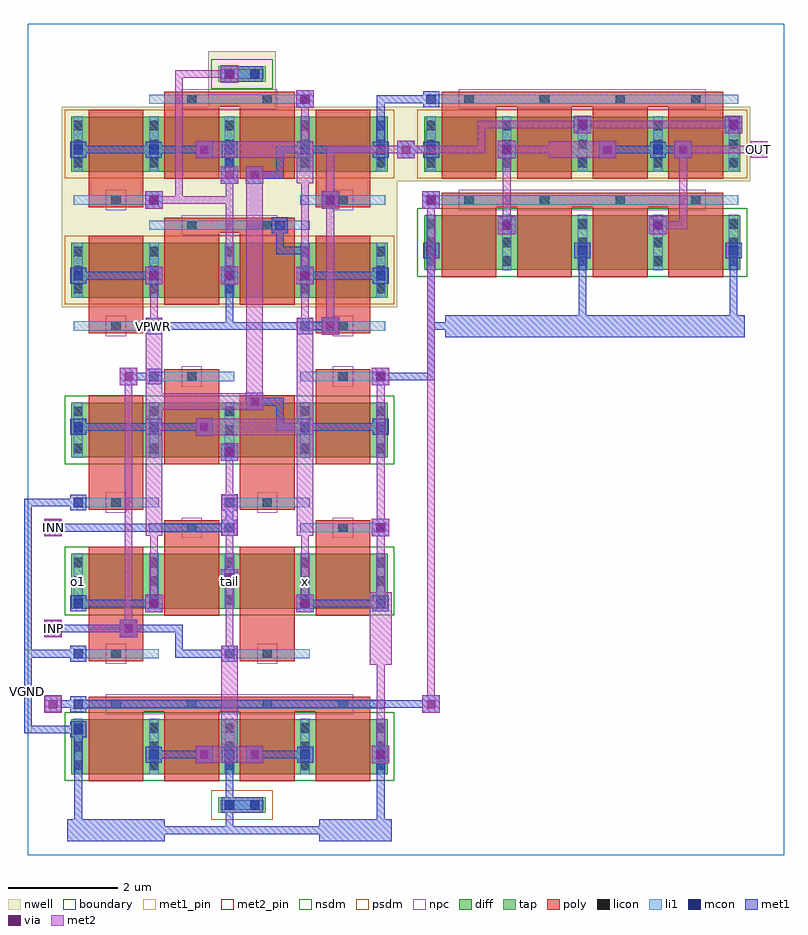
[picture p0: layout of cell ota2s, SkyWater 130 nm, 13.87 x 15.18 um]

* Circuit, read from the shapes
.subckt ota2s INN INP OUT VBN VGND VPWR o1 tail x
XM1 tail VBN VGND VGND sky130_fd_pr__nfet_01v8 w=1 l=1 m=4
XM2 o1 VGND o1 VGND sky130_fd_pr__nfet_01v8 w=1 l=1 m=2
XM3 x VGND x VGND sky130_fd_pr__nfet_01v8 w=1 l=1 m=2
XM4 tail INN o1 VGND sky130_fd_pr__nfet_01v8 w=1 l=1 m=2
XM5 tail INP x VGND sky130_fd_pr__nfet_01v8 w=1 l=1 m=2
XM6 OUT VBN VGND VGND sky130_fd_pr__nfet_01v8 w=1 l=1 m=4
XM7 o1 VPWR o1 VPWR sky130_fd_pr__pfet_01v8 w=1 l=1 m=2
XM8 x VPWR x VPWR sky130_fd_pr__pfet_01v8 w=1 l=1 m=2
XM9 VPWR x o1 VPWR sky130_fd_pr__pfet_01v8 w=1 l=1 m=2
XM10 VPWR x x VPWR sky130_fd_pr__pfet_01v8 w=1 l=1 m=2
XM11 OUT o1 VPWR VPWR sky130_fd_pr__pfet_01v8 w=1 l=1 m=4
.ends

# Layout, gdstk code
import gdstk
lib = gdstk.Library(unit=1e-6, precision=1e-09)
def R(c, l, rs):  # rectangles x0, y0, x1, y1
    for r in rs: c.add(gdstk.rectangle(r[:2], r[2:], *l))
def A(c, l, x, y, w, h, nx, ny, dx, dy):  # array of equal rectangles
    R(c, l, [(x+i*dx, y+j*dy, x+i*dx+w, y+j*dy+h) for i in range(nx) for j in range(ny)])
nwell = (64, 20)
diff = (65, 20)
tap = (65, 44)
poly = (66, 20)
licon = (66, 44)
li1 = (67, 20)
mcon = (67, 44)
met1_pin = (68, 16)
met1 = (68, 20)
via = (68, 44)
met2_pin = (69, 16)
met2 = (69, 20)
nsdm = (93, 44)
psdm = (94, 20)
npc = (95, 20)
boundary = (235, 4)

ota2s = lib.new_cell('ota2s')
R(ota2s, nwell, [(0.615,10,6.745,12.3), (0.615,12.3,13.185,13.66), (3.295,13.66,4.525,14.68)])
R(ota2s, diff, [(0.795,1.485,6.565,2.485), (0.795,4.505,6.565,5.505), (0.795,7.265,6.565,8.265), (0.795,10.18,6.565,11.18), (7.235,10.685,13.005,11.685), (0.795,12.48,6.565,13.48), (7.235,12.48,13.005,13.48)])
R(ota2s, tap, [(3.475,0.775,4.345,1.065), (3.475,14.115,4.345,14.405)])
A(ota2s, poly, 1.11, 1.355, 1, 1.405, 4, 1, 1.38, 0)
A(ota2s, poly, 7.55, 10.555, 1, 1.405, 4, 1, 1.38, 0)
A(ota2s, poly, 7.55, 12.35, 1, 1.45, 4, 1, 1.38, 0)
R(ota2s, poly, [(1.11,2.625,6.25,2.895), (1.11,3.545,2.11,3.815), (3.87,3.545,4.87,3.815), (1.11,3.68,2.11,5.635), (3.87,3.68,4.87,5.635), (2.49,4.375,3.49,5.98), (5.25,4.375,6.25,5.98), (2.49,5.845,3.49,6.115), (5.25,5.845,6.25,6.115), (1.11,6.305,2.11,6.575), (3.87,6.305,4.87,6.575), (1.11,6.44,2.11,8.395), (3.87,6.44,4.87,8.395), (2.49,7.135,3.49,8.74), (5.25,7.135,6.25,8.74), (2.49,8.605,3.49,8.875), (5.25,8.605,6.25,8.875), (1.11,9.525,2.11,9.795), (5.25,9.525,6.25,9.795), (1.11,9.66,2.11,11.31), (5.25,9.66,6.25,11.31), (2.49,10.05,3.49,11.5), (3.87,10.05,4.87,11.5), (2.49,11.365,4.87,11.635), (1.11,11.825,2.11,12.095), (5.25,11.825,6.25,12.095), (7.55,11.825,12.69,12.095), (1.11,11.96,2.11,13.61), (5.25,11.96,6.25,13.61), (2.49,12.35,3.49,13.8), (3.87,12.35,4.87,13.8), (2.49,13.665,4.87,13.935), (7.55,13.665,12.69,13.935)])
A(ota2s, licon, 0.835, 1.56, 0.17, 0.17, 5, 3, 1.38, 0.34)
A(ota2s, licon, 1.525, 2.675, 0.17, 0.17, 4, 1, 1.38, 0)
A(ota2s, licon, 0.835, 4.58, 0.17, 0.17, 5, 3, 1.38, 0.34)
A(ota2s, licon, 2.905, 5.895, 0.17, 0.17, 1, 3, 0, 2.76)
A(ota2s, licon, 0.835, 7.34, 0.17, 0.17, 5, 3, 1.38, 0.34)
A(ota2s, licon, 0.835, 10.255, 0.17, 0.17, 5, 3, 1.38, 0.34)
A(ota2s, licon, 7.275, 10.76, 0.17, 0.17, 5, 3, 1.38, 0.34)
A(ota2s, licon, 7.965, 11.875, 0.17, 0.17, 4, 2, 1.38, 1.84)
A(ota2s, licon, 0.835, 12.555, 0.17, 0.17, 5, 3, 1.38, 0.34)
A(ota2s, licon, 7.275, 12.555, 0.17, 0.17, 5, 3, 1.38, 0.34)
R(ota2s, licon, [(3.595,0.835,3.765,1.005), (4.055,0.835,4.225,1.005), (1.525,3.595,1.695,3.765), (4.285,3.595,4.455,3.765), (5.665,5.895,5.835,6.065), (1.525,6.355,1.695,6.525), (4.285,6.355,4.455,6.525), (5.665,8.655,5.835,8.825), (1.525,9.575,1.695,9.745), (5.665,9.575,5.835,9.745), (4.285,11.415,4.455,11.585), (1.525,11.875,1.695,12.045), (5.665,11.875,5.835,12.045), (2.905,13.715,3.075,13.885), (4.285,13.715,4.455,13.885), (3.595,14.175,3.765,14.345), (4.055,14.175,4.225,14.345)])
A(ota2s, li1, 0.835, 1.48, 0.17, 1.01, 5, 2, 1.38, 3.02)
A(ota2s, li1, 0.835, 7.26, 0.17, 1.01, 5, 2, 1.38, 2.915)
A(ota2s, li1, 7.275, 10.68, 0.17, 1.01, 5, 2, 1.38, 1.795)
A(ota2s, li1, 0.835, 12.475, 0.17, 1.01, 5, 1, 1.38, 0)
R(ota2s, li1, [(3.515,0.835,4.305,1.005), (0.835,2.675,6.525,2.845), (0.835,3.595,2.385,3.765), (3.595,3.595,5.145,3.765), (2.215,5.895,3.765,6.065), (4.975,5.895,6.525,6.065), (0.835,6.355,2.385,6.525), (3.595,6.355,5.145,6.525), (2.215,8.655,3.765,8.825), (4.975,8.655,6.525,8.825), (0.835,9.575,2.385,9.745), (4.975,9.575,6.525,9.745), (2.215,11.415,5.145,11.585), (0.835,11.875,2.385,12.045), (4.975,11.875,6.525,12.045), (7.275,11.875,12.965,12.045), (2.215,13.715,5.145,13.885), (7.275,13.715,12.965,13.885), (3.515,14.175,4.305,14.345)])
A(ota2s, mcon, 2.215, 1.755, 0.17, 0.17, 4, 1, 1.38, 0)
A(ota2s, mcon, 0.835, 2.675, 0.17, 0.17, 1, 3, 0, 0.92)
A(ota2s, mcon, 2.215, 7.735, 0.17, 0.17, 1, 3, 0, 0.92)
A(ota2s, mcon, 0.835, 10.495, 0.17, 0.17, 5, 2, 1.38, 2.3)
A(ota2s, mcon, 7.275, 10.955, 0.17, 0.17, 3, 1, 2.76, 0)
A(ota2s, mcon, 7.275, 11.875, 0.17, 0.17, 1, 3, 0, 0.92)
R(ota2s, mcon, [(3.595,0.835,3.765,1.005), (4.055,0.835,4.225,1.005), (0.835,2.215,1.005,2.385), (3.595,3.595,3.765,3.765), (2.215,4.515,2.385,4.685), (4.975,4.515,5.145,4.685), (6.355,4.515,6.525,4.685), (3.595,4.975,3.765,5.145), (3.595,5.895,3.765,6.065), (6.355,5.895,6.525,6.065), (0.835,6.355,1.005,6.525), (3.595,6.355,3.765,6.525), (3.595,7.275,3.765,7.445), (0.835,7.735,1.005,7.905), (4.975,7.735,5.145,7.905), (6.355,7.735,6.525,7.905), (6.355,8.655,6.525,8.825), (4.975,9.575,5.145,9.745), (4.515,11.415,4.685,11.585), (8.655,11.415,8.825,11.585), (11.415,11.415,11.585,11.585), (2.215,11.875,2.385,12.045), (5.435,11.875,5.605,12.045), (8.655,12.795,8.825,12.965), (11.415,12.795,11.585,12.965), (10.035,13.255,10.205,13.425), (12.795,13.255,12.965,13.425), (4.975,13.715,5.145,13.885), (3.595,14.175,3.765,14.345), (4.055,14.175,4.225,14.345)])
R(ota2s, met1_pin, [(-0.07,2.23,0.07,3.75), (2.155,9.515,2.445,9.805)])
A(ota2s, met1, 2.155, 1.695, 0.29, 0.29, 4, 1, 1.38, 0)
A(ota2s, met1, 0.775, 2.615, 0.29, 0.29, 1, 3, 0, 0.92)
A(ota2s, met1, 2.155, 7.675, 0.29, 0.29, 1, 3, 0, 0.92)
A(ota2s, met1, 2.14, 10.42, 0.32, 0.32, 3, 1, 1.38, 0)
A(ota2s, met1, 0.775, 10.435, 0.29, 0.29, 5, 2, 1.38, 2.3)
A(ota2s, met1, 7.215, 10.895, 0.29, 0.29, 3, 1, 2.76, 0)
A(ota2s, met1, 7.215, 11.815, 0.29, 0.29, 1, 3, 0, 0.92)
A(ota2s, met1, 6.74, 12.72, 0.32, 0.32, 3, 1, 1.84, 0)
R(ota2s, met1, [(0.72,0.26,2.5,0.66), (5.32,0.26,6.64,0.66), (0.85,0.39,0.99,2.37), (2.23,0.39,3.75,0.53), (3.61,0.39,3.75,0.99), (3.61,0.39,5.59,0.53), (6.37,0.39,6.51,1.91), (3.535,0.775,4.285,1.065), (3.61,0.85,3.75,1.91), (3.61,0.85,3.75,0.99), (3.06,1.68,3.38,2), (3.98,1.68,4.3,2), (6.28,1.68,6.6,2), (2.23,1.77,3.29,1.91), (4.07,1.77,5.13,1.91), (0.775,2.155,1.065,2.445), (-0.07,2.23,0.99,2.37), (-0.07,2.23,0.07,3.75), (0.3,2.6,0.62,2.92), (7.2,2.6,7.52,2.92), (0.39,2.69,0.99,2.83), (0.85,2.69,7.43,2.83), (3.535,3.535,3.825,3.825), (-0.07,3.61,0.99,3.75), (-0.07,3.61,0.07,6.51), (2.69,3.61,3.75,3.75), (2.69,3.61,2.83,4.21), (0.3,3.98,0.62,4.3), (1.68,3.98,2,4.3), (0.39,4.07,2.83,4.21), (2.14,4.44,2.46,4.76), (4.9,4.44,5.22,4.76), (2.155,4.455,2.445,4.745), (4.915,4.455,5.205,4.745), (6.295,4.455,6.585,4.745), (0.85,4.53,2.37,4.67), (4.99,4.53,6.51,4.67), (3.52,4.9,3.84,5.22), (3.535,4.915,3.825,5.205), (0.3,5.82,0.62,6.14), (6.28,5.82,6.6,6.14), (3.535,5.835,3.825,6.125), (6.295,5.835,6.585,6.125), (0.39,5.91,3.75,6.05), (3.61,5.91,3.75,6.51), (0.775,6.295,1.065,6.585), (3.535,6.295,3.825,6.585), (-0.07,6.37,0.99,6.51), (3.52,7.2,3.84,7.52), (3.535,7.215,3.825,7.505), (3.06,7.66,3.38,7.98), (0.775,7.675,1.065,7.965), (4.915,7.675,5.205,7.965), (6.295,7.675,6.585,7.965), (0.85,7.75,2.37,7.89), (2.23,7.75,3.29,7.89), (4.53,7.75,5.13,7.89), (4.53,7.75,4.67,8.35), (4.99,7.75,6.51,7.89), (3.98,8.12,4.3,8.44), (4.07,8.21,4.67,8.35), (1.68,8.58,2,8.9), (6.28,8.58,6.6,8.9), (6.295,8.595,6.585,8.885), (1.77,8.67,2.37,8.81), (6.37,8.67,7.43,8.81), (7.29,8.67,7.43,11.11), (7.62,9.46,10.32,9.86), (9.92,9.46,13.08,9.86), (5.36,9.5,5.68,9.82), (4.915,9.515,5.205,9.805), (2.23,9.59,3.75,9.73), (3.61,9.59,5.13,9.73), (3.61,9.59,3.75,10.65), (4.99,9.59,5.59,9.73), (7.29,9.59,7.89,9.73), (10.05,9.59,10.19,11.11), (12.81,9.59,12.95,11.11), (0.85,10.51,2.37,10.65), (4.99,10.51,6.51,10.65), (4.99,10.51,5.13,11.11), (4.53,10.97,5.13,11.11), (4.53,10.97,4.67,11.57), (8.58,11.34,8.9,11.66), (11.34,11.34,11.66,11.66), (4.455,11.355,4.745,11.645), (8.595,11.355,8.885,11.645), (11.355,11.355,11.645,11.645), (2.14,11.8,2.46,12.12), (5.36,11.8,5.68,12.12), (7.2,11.8,7.52,12.12), (2.155,11.815,2.445,12.105), (5.375,11.815,5.665,12.105), (3.52,12.26,3.84,12.58), (3.98,12.26,4.3,12.58), (3.61,12.35,3.75,12.95), (4.07,12.35,4.67,12.49), (4.53,12.35,4.67,12.95), (3.06,12.72,3.38,13.04), (11.8,12.72,12.12,13.04), (8.595,12.735,8.885,13.025), (11.355,12.735,11.645,13.025), (0.85,12.81,2.37,12.95), (2.23,12.81,3.29,12.95), (4.53,12.81,5.13,12.95), (4.99,12.81,6.51,12.95), (6.37,12.81,6.51,13.87), (6.83,12.81,7.43,12.95), (10.51,12.81,11.57,12.95), (11.43,12.81,12.03,12.95), (9.96,13.18,10.28,13.5), (12.72,13.18,13.04,13.5), (9.975,13.195,10.265,13.485), (12.735,13.195,13.025,13.485), (4.9,13.64,5.22,13.96), (4.915,13.655,5.205,13.945), (6.37,13.73,7.43,13.87), (3.52,14.1,3.84,14.42), (3.535,14.115,4.285,14.405), (3.61,14.19,3.75,14.33)])
A(ota2s, via, 2.225, 10.505, 0.15, 0.15, 3, 1, 1.38, 0)
A(ota2s, via, 6.825, 12.805, 0.15, 0.15, 3, 1, 1.84, 0)
R(ota2s, via, [(3.145,1.765,3.295,1.915), (4.065,1.765,4.215,1.915), (6.365,1.765,6.515,1.915), (0.385,2.685,0.535,2.835), (7.285,2.685,7.435,2.835), (0.385,4.065,0.535,4.215), (1.765,4.065,1.915,4.215), (2.225,4.525,2.375,4.675), (4.985,4.525,5.135,4.675), (3.605,4.985,3.755,5.135), (0.385,5.905,0.535,6.055), (6.365,5.905,6.515,6.055), (3.605,7.285,3.755,7.435), (3.145,7.745,3.295,7.895), (4.065,8.205,4.215,8.355), (1.765,8.665,1.915,8.815), (6.365,8.665,6.515,8.815), (5.445,9.585,5.595,9.735), (8.665,11.425,8.815,11.575), (11.425,11.425,11.575,11.575), (2.225,11.885,2.375,12.035), (5.445,11.885,5.595,12.035), (7.285,11.885,7.435,12.035), (3.605,12.345,3.755,12.495), (4.065,12.345,4.215,12.495), (3.145,12.805,3.295,12.955), (11.885,12.805,12.035,12.955), (10.045,13.265,10.195,13.415), (12.805,13.265,12.955,13.415), (4.985,13.725,5.135,13.875), (3.605,14.185,3.755,14.335)])
R(ota2s, met2_pin, [(0.31,2.61,0.61,2.91), (0.31,3.99,0.61,4.29), (0.31,5.83,0.61,6.13), (13.19,12.73,13.49,13.03)])
A(ota2s, met2, 2.14, 10.42, 0.32, 0.32, 3, 1, 1.38, 0)
A(ota2s, met2, 6.74, 12.72, 0.32, 0.32, 3, 1, 1.84, 0)
R(ota2s, met2, [(3.06,1.68,3.38,2), (3.98,1.68,4.3,2), (6.28,1.68,6.6,2), (3.07,1.69,3.83,1.99), (3.53,1.69,3.83,3.83), (3.53,1.69,4.29,1.99), (6.37,1.77,6.51,3.75), (0.3,2.6,0.62,2.92), (7.2,2.6,7.52,2.92), (0.31,2.61,0.61,2.91), (0.39,2.69,0.53,2.83), (7.29,2.69,7.43,12.03), (6.24,3.48,6.64,4.8), (3.61,3.61,3.75,5.13), (0.3,3.98,0.62,4.3), (1.68,3.98,2,4.3), (0.31,3.99,0.61,4.29), (0.39,4.07,0.53,4.21), (1.77,4.07,1.91,8.81), (2.14,4.44,2.46,4.76), (4.9,4.44,5.22,4.76), (2.23,4.53,2.37,6.05), (4.99,4.53,5.13,6.05), (6.37,4.53,6.51,6.05), (3.52,4.9,3.84,5.22), (3.61,4.99,3.75,6.05), (0.3,5.82,0.62,6.14), (6.28,5.82,6.6,6.14), (0.31,5.83,0.61,6.13), (2.15,5.83,2.45,9.81), (3.53,5.83,3.83,6.59), (4.91,5.83,5.21,9.81), (0.39,5.91,0.53,6.05), (6.37,5.91,6.51,8.81), (3.61,6.37,3.75,7.43), (3.52,7.2,3.84,7.52), (3.06,7.66,3.38,7.98), (3.07,7.67,5.21,7.97), (3.98,8.12,4.3,8.44), (2.15,8.13,4.29,8.43), (3.99,8.13,4.29,12.57), (1.68,8.58,2,8.9), (6.28,8.58,6.6,8.9), (5.36,9.5,5.68,9.82), (2.23,9.59,2.37,10.65), (4.99,9.59,5.13,10.65), (5.45,9.59,5.59,12.03), (3.61,10.51,3.75,12.49), (4.99,10.51,5.13,12.49), (8.58,11.34,8.9,11.66), (11.34,11.34,11.66,11.66), (8.67,11.43,8.81,12.95), (11.43,11.43,12.03,11.57), (11.89,11.43,12.03,12.95), (2.14,11.8,2.46,12.12), (5.36,11.8,5.68,12.12), (7.2,11.8,7.52,12.12), (2.23,11.89,3.75,12.03), (2.69,11.89,2.83,14.33), (5.45,11.89,5.59,12.95), (3.52,12.26,3.84,12.58), (3.98,12.26,4.3,12.58), (4.91,12.27,5.21,13.03), (3.06,12.72,3.38,13.04), (11.8,12.72,12.12,13.04), (3.07,12.73,5.21,13.03), (9.51,12.73,10.73,13.03), (13.19,12.73,13.49,13.03), (4.99,12.81,5.13,13.87), (5.45,12.81,6.97,12.95), (6.83,12.81,8.35,12.95), (8.21,12.81,8.35,13.41), (8.67,12.81,9.73,12.95), (11.89,12.81,13.41,12.95), (13.27,12.81,13.41,12.95), (9.96,13.18,10.28,13.5), (12.72,13.18,13.04,13.5), (8.21,13.27,10.19,13.41), (10.05,13.27,12.95,13.41), (4.9,13.64,5.22,13.96), (3.52,14.1,3.84,14.42), (2.69,14.19,3.75,14.33)])
R(ota2s, nsdm, [(0.67,1.36,6.69,2.61), (0.67,4.38,6.69,5.63), (0.67,7.14,6.69,8.39), (7.11,10.56,13.13,11.81), (3.35,13.99,4.47,14.53)])
R(ota2s, psdm, [(3.35,0.65,4.47,1.19), (0.67,10.055,6.69,11.305), (0.67,12.355,6.69,13.605), (7.11,12.355,13.13,13.605)])
R(ota2s, npc, [(1.425,2.575,5.935,2.945), (1.425,3.495,1.795,3.865), (4.185,3.495,4.555,3.865), (2.805,5.795,3.175,6.165), (5.565,5.795,5.935,6.165), (1.425,6.255,1.795,6.625), (4.185,6.255,4.555,6.625), (2.805,8.555,3.175,8.925), (5.565,8.555,5.935,8.925), (1.425,9.475,1.795,9.845), (5.565,9.475,5.935,9.845), (2.805,11.315,4.555,11.685), (1.425,11.775,1.795,12.145), (5.565,11.775,5.935,12.145), (7.865,11.775,12.375,12.145), (2.805,13.615,4.555,13.985), (7.865,13.615,12.375,13.985)])
R(ota2s, boundary, [(0,0,13.8,15.18)])
ota2s.add(gdstk.Label('o1', (0.92,5.005), layer=67, texttype=5))
ota2s.add(gdstk.Label('tail', (3.68,5.005), layer=67, texttype=5))
ota2s.add(gdstk.Label('x', (5.06,5.005), layer=67, texttype=5))
ota2s.add(gdstk.Label('VPWR', (2.3,9.66), layer=68, texttype=5))
ota2s.add(gdstk.Label('VGND', (0,2.99), layer=68, texttype=5))
ota2s.add(gdstk.Label('INP', (0.46,4.14), layer=69, texttype=5))
ota2s.add(gdstk.Label('INN', (0.46,5.98), layer=69, texttype=5))
ota2s.add(gdstk.Label('VBN', (0.46,2.76), layer=69, texttype=5))
ota2s.add(gdstk.Label('OUT', (13.34,12.88), layer=69, texttype=5))
ota2s.add(gdstk.Label('VPWR', (2.3,9.66), layer=68, texttype=16))
ota2s.add(gdstk.Label('VGND', (0,2.99), layer=68, texttype=16))
ota2s.add(gdstk.Label('INP', (0.46,4.14), layer=69, texttype=16))
ota2s.add(gdstk.Label('INN', (0.46,5.98), layer=69, texttype=16))
ota2s.add(gdstk.Label('VBN', (0.46,2.76), layer=69, texttype=16))
ota2s.add(gdstk.Label('OUT', (13.34,12.88), layer=69, texttype=16))

lib.write_gds('ota2s.gds')
